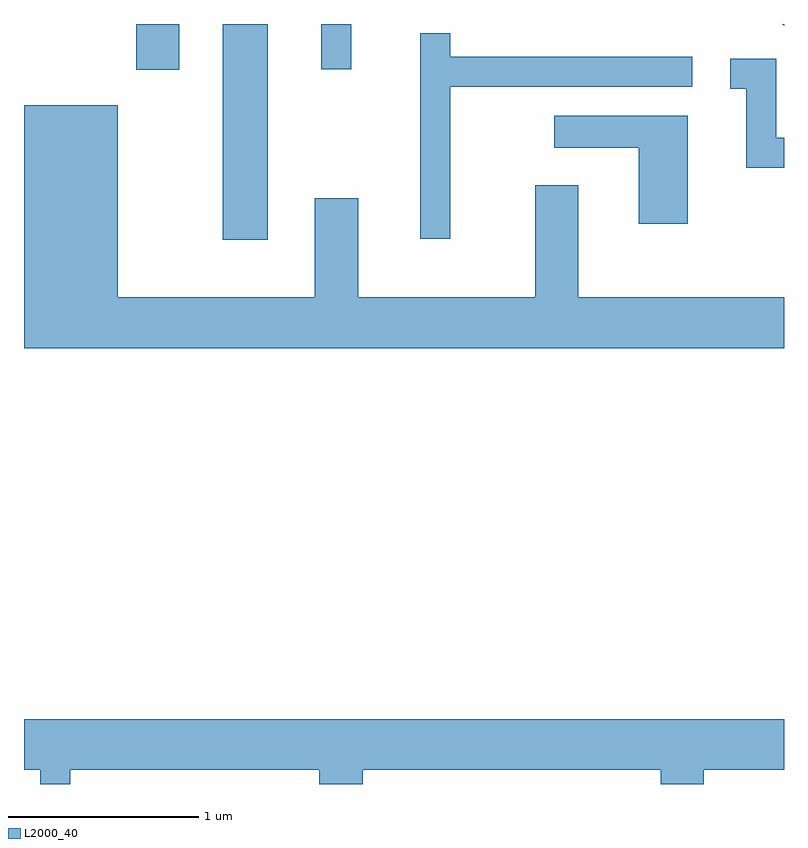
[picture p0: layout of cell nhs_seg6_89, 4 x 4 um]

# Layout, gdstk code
import gdstk
lib = gdstk.Library(unit=1e-6, precision=1e-09)
def R(c, l, rs):  # rectangles x0, y0, x1, y1
    for r in rs: c.add(gdstk.rectangle(r[:2], r[2:], *l))
def P(c, l, *ps):  # polygons
    for p in ps: c.add(gdstk.Polygon(p, *l))
L2000_40 = (2000, 40)

nhs_seg6_89 = lib.new_cell('nhs_seg6_89')
R(nhs_seg6_89, L2000_40, [(188.656,1575.026,188.894,1576.162), (188.201,1575.921,188.429,1576.162), (189.176,1575.923,189.334,1576.162)])
P(nhs_seg6_89, L2000_40, [(191.611,1576.162),(191.603,1576.162),(191.611,1576.154)],
  [(189.854,1575.831),(191.128,1575.831),(191.128,1575.989),(189.854,1575.989),(189.854,1576.113),(189.696,1576.113),(189.696,1575.033),(189.854,1575.033)],
  [(191.611,1575.564),(191.569,1575.564),(191.569,1575.979),(191.328,1575.979),(191.328,1575.821),(191.411,1575.821),(191.411,1575.406),(191.611,1575.406)],
  [(191.611,1574.724),(190.529,1574.724),(190.529,1575.314),(190.301,1575.314),(190.301,1574.724),(189.369,1574.724),(189.369,1575.244),(189.141,1575.244),(189.141,1574.724),(188.104,1574.724),(188.104,1575.734),(187.611,1575.734),(187.611,1574.456),(191.611,1574.456)],
  [(191.104,1575.679),(190.403,1575.679),(190.403,1575.511),(190.846,1575.511),(190.846,1575.111),(191.104,1575.111)],
  [(187.854,1572.236),(189.166,1572.236),(189.166,1572.162),(189.394,1572.162),(189.394,1572.236),(190.961,1572.236),(190.961,1572.162),(191.189,1572.162),(191.189,1572.236),(191.611,1572.236),(191.611,1572.504),(187.611,1572.504),(187.611,1572.236),(187.696,1572.236),(187.696,1572.162),(187.854,1572.162)])

lib.write_gds('nhs_seg6_89.gds')
